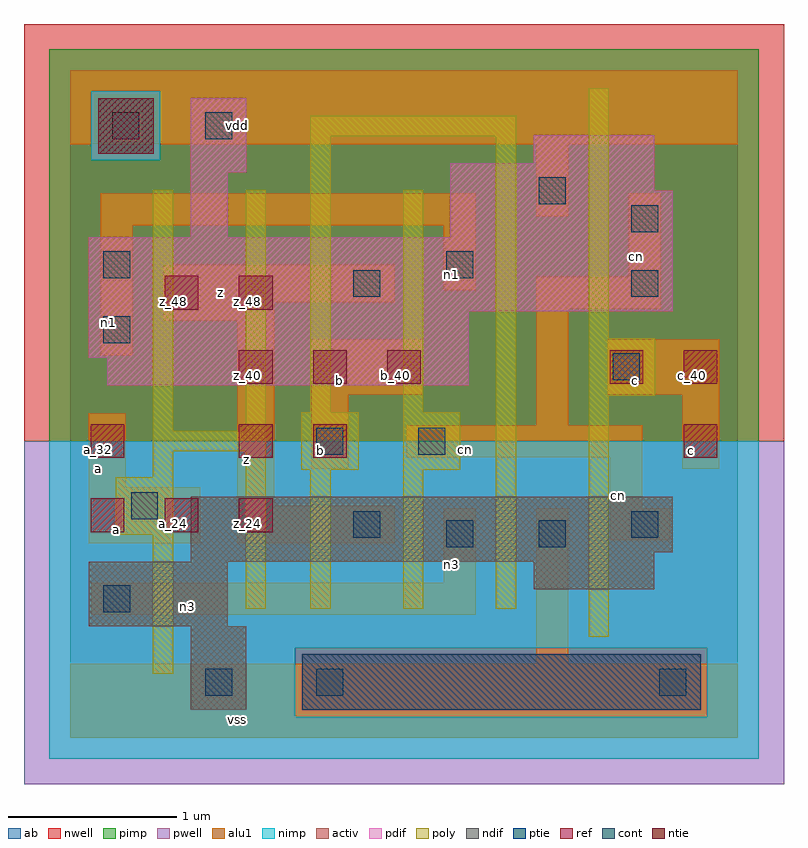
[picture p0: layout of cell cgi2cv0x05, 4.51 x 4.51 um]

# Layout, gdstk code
import gdstk
lib = gdstk.Library(unit=1e-6, precision=2.5e-09)
def R(c, l, rs):  # rectangles x0, y0, x1, y1
    for r in rs: c.add(gdstk.rectangle(r[:2], r[2:], *l))
def A(c, l, x, y, w, h, nx, ny, dx, dy):  # array of equal rectangles
    R(c, l, [(x+i*dx, y+j*dy, x+i*dx+w, y+j*dy+h) for i in range(nx) for j in range(ny)])
ndif = (3, 0)
pdif = (4, 0)
ntie = (5, 0)
ptie = (6, 0)
ref = (24, 0)
cont = (25, 0)
pwell = (41, 0)
nwell = (42, 0)
activ = (43, 0)
pimp = (44, 0)
nimp = (45, 0)
poly = (46, 0)
alu1 = (49, 0)
ab = (63, 0)

cgi2cv0x05 = lib.new_cell('cgi2cv0x05')
R(cgi2cv0x05, ndif, [(0.715,0.165,1.045,0.66), (0.11,0.66,0.935,1.045), (2.75,0.88,3.465,1.045), (0.715,1.045,3.465,1.1), (0.715,1.1,3.575,1.43)])
R(cgi2cv0x05, pdif, [(0.22,2.09,2.365,2.255), (0.11,2.255,2.365,2.53), (0.11,2.53,3.575,2.97), (0.715,2.97,0.935,3.355), (2.255,2.97,3.575,3.245), (2.255,3.245,3.465,3.41), (0.715,3.355,1.045,3.795), (2.75,3.41,3.465,3.575)])
R(cgi2cv0x05, ntie, [(0.165,3.465,0.495,3.795)])
R(cgi2cv0x05, ptie, [(1.375,0.165,3.74,0.495)])
A(cgi2cv0x05, ref, 0.12, 1.22, 0.2, 0.2, 3, 1, 0.44, 0)
A(cgi2cv0x05, ref, 1, 2.1, 0.2, 0.2, 3, 1, 0.44, 0)
R(cgi2cv0x05, ref, [(0.12,1.66,0.32,1.86), (1,1.66,1.2,1.86), (1.44,1.66,1.64,1.86), (3.64,1.66,3.84,1.86), (3.2,2.1,3.4,2.3), (3.64,2.1,3.84,2.3), (0.56,2.54,0.76,2.74), (1,2.54,1.2,2.74)])
R(cgi2cv0x05, cont, [(0.8,0.25,0.96,0.41), (1.46,0.25,1.62,0.41), (3.495,0.25,3.655,0.41), (0.195,0.745,0.355,0.905), (2.23,1.13,2.39,1.29), (2.78,1.13,2.94,1.29), (1.68,1.185,1.84,1.345), (3.33,1.185,3.49,1.345), (0.36,1.295,0.52,1.455), (1.46,1.68,1.62,1.84), (2.065,1.68,2.225,1.84), (3.22,2.12,3.38,2.28), (0.195,2.34,0.355,2.5), (1.68,2.615,1.84,2.775), (3.33,2.615,3.49,2.775), (0.195,2.725,0.355,2.885), (2.23,2.725,2.39,2.885), (3.33,3,3.49,3.16), (2.78,3.165,2.94,3.325), (0.25,3.55,0.41,3.71), (0.8,3.55,0.96,3.71)])
R(cgi2cv0x05, pwell, [(-0.275,-0.275,4.235,1.76)])
R(cgi2cv0x05, nwell, [(-0.275,1.76,4.235,4.235)])
R(cgi2cv0x05, activ, [(0.715,0.165,1.045,0.66), (1.375,0.165,3.74,0.495), (0.11,0.66,0.935,1.045), (2.75,0.88,3.465,1.045), (0.715,1.045,3.465,1.1), (0.715,1.1,3.575,1.43), (0.22,2.09,2.365,2.255), (0.11,2.255,2.365,2.53), (0.11,2.53,3.575,2.97), (0.715,2.97,0.935,3.355), (2.255,2.97,3.575,3.245), (2.255,3.245,3.465,3.41), (0.715,3.355,1.045,3.795), (2.75,3.41,3.465,3.575), (0.165,3.465,0.495,3.795)])
R(cgi2cv0x05, pimp, [(1.335,0.125,3.78,0.535), (-0.125,1.76,4.085,3.425), (-0.125,3.425,0.125,3.835), (0.535,3.425,4.085,3.835), (-0.125,3.835,4.085,4.085)])
R(cgi2cv0x05, nimp, [(-0.125,-0.125,4.085,0.125), (-0.125,0.125,1.335,0.535), (3.78,0.125,4.085,0.535), (-0.125,0.535,4.085,1.76), (0.125,3.425,0.535,3.835)])
R(cgi2cv0x05, poly, [(0.49,0.38,0.61,1.205), (3.075,0.6,3.195,2.03), (1.04,0.765,1.16,1.7), (1.425,0.765,1.545,1.59), (1.975,0.765,2.095,1.59), (2.525,0.765,2.645,3.57), (0.27,1.205,0.61,1.545), (0.49,1.545,0.61,1.7), (1.37,1.59,1.71,1.93), (1.975,1.59,2.315,1.93), (0.49,1.7,1.16,1.82), (0.49,1.82,0.61,3.25), (1.04,1.82,1.16,3.25), (1.425,1.93,1.545,3.57), (1.975,1.93,2.095,3.25), (3.075,2.03,3.47,2.37), (3.075,2.37,3.195,3.855), (1.425,3.57,2.645,3.69)])
R(cgi2cv0x05, alu1, [(0,0,3.96,0.44), (2.765,0.44,2.955,1.36), (0.125,0.73,2.405,0.92), (2.215,0.92,2.405,1.36), (0.11,1.155,0.77,1.485), (0.99,1.155,1.925,1.375), (3.205,1.17,3.56,1.36), (3.205,1.36,3.395,1.665), (0.99,1.375,1.21,2.475), (0.11,1.485,0.33,1.925), (1.43,1.595,1.65,2.035), (3.63,1.595,3.85,2.035), (1.995,1.665,3.395,1.855), (2.765,1.855,2.955,2.545), (1.43,2.035,2.09,2.365), (3.19,2.035,3.85,2.365), (0.18,2.27,0.37,3.04), (0.55,2.475,1.21,2.585), (2.765,2.545,3.505,2.735), (0.55,2.585,1.925,2.805), (2.215,2.655,2.405,3.04), (3.315,2.735,3.505,3.23), (0.18,3.04,2.405,3.23), (2.765,3.095,2.955,3.52), (0,3.52,3.96,3.96)])
R(cgi2cv0x05, ab, [(0,0,3.96,3.96)])
cgi2cv0x05.add(gdstk.Label('vss', (0.99,0.11), layer=49, texttype=0))
cgi2cv0x05.add(gdstk.Label('n3', (0.695,0.7775), layer=49, texttype=0))
cgi2cv0x05.add(gdstk.Label('n3', (2.2625,1.03), layer=49, texttype=0))
cgi2cv0x05.add(gdstk.Label('c', (3.685,1.705), layer=49, texttype=0))
cgi2cv0x05.add(gdstk.Label('cn', (3.2525,1.435), layer=49, texttype=0))
cgi2cv0x05.add(gdstk.Label('cn', (2.345,1.7125), layer=49, texttype=0))
cgi2cv0x05.add(gdstk.Label('c', (3.355,2.1175), layer=49, texttype=0))
cgi2cv0x05.add(gdstk.Label('b', (1.485,1.705), layer=49, texttype=0))
cgi2cv0x05.add(gdstk.Label('b', (1.595,2.1175), layer=49, texttype=0))
cgi2cv0x05.add(gdstk.Label('z', (1.045,1.65), layer=49, texttype=0))
cgi2cv0x05.add(gdstk.Label('a', (0.275,1.2375), layer=49, texttype=0))
cgi2cv0x05.add(gdstk.Label('a', (0.165,1.595), layer=49, texttype=0))
cgi2cv0x05.add(gdstk.Label('cn', (3.3625,2.8575), layer=49, texttype=0))
cgi2cv0x05.add(gdstk.Label('n1', (2.2625,2.75), layer=49, texttype=0))
cgi2cv0x05.add(gdstk.Label('z', (0.8925,2.64), layer=49, texttype=0))
cgi2cv0x05.add(gdstk.Label('n1', (0.2275,2.4625), layer=49, texttype=0))
cgi2cv0x05.add(gdstk.Label('vdd', (0.99,3.63), layer=49, texttype=0))
cgi2cv0x05.add(gdstk.Label('c_40', (3.25,2.15), layer=24, texttype=0))
cgi2cv0x05.add(gdstk.Label('c_32', (3.69,1.71), layer=24, texttype=0))
cgi2cv0x05.add(gdstk.Label('b_32', (1.49,1.71), layer=24, texttype=0))
cgi2cv0x05.add(gdstk.Label('b_40', (1.49,2.15), layer=24, texttype=0))
cgi2cv0x05.add(gdstk.Label('b_40', (1.93,2.15), layer=24, texttype=0))
cgi2cv0x05.add(gdstk.Label('c_40', (3.69,2.15), layer=24, texttype=0))
cgi2cv0x05.add(gdstk.Label('a_32', (0.17,1.71), layer=24, texttype=0))
cgi2cv0x05.add(gdstk.Label('a_24', (0.17,1.27), layer=24, texttype=0))
cgi2cv0x05.add(gdstk.Label('z_48', (1.05,2.59), layer=24, texttype=0))
cgi2cv0x05.add(gdstk.Label('z_40', (1.05,2.15), layer=24, texttype=0))
cgi2cv0x05.add(gdstk.Label('z_32', (1.05,1.71), layer=24, texttype=0))
cgi2cv0x05.add(gdstk.Label('z_24', (1.05,1.27), layer=24, texttype=0))
cgi2cv0x05.add(gdstk.Label('z_48', (0.61,2.59), layer=24, texttype=0))
cgi2cv0x05.add(gdstk.Label('a_24', (0.61,1.27), layer=24, texttype=0))

lib.write_gds('cgi2cv0x05.gds')
